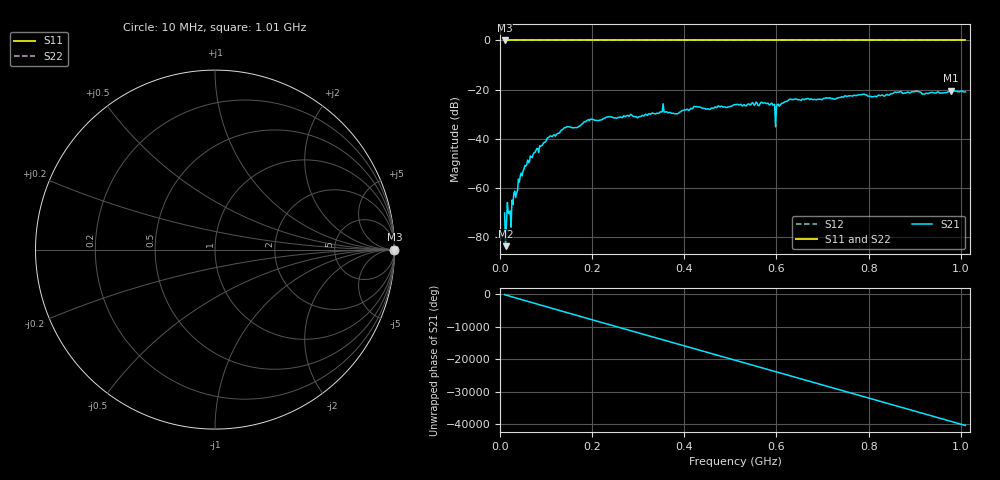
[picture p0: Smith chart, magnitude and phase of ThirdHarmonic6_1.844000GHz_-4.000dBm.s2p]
! 8/16/2025 10:18:59 PM
! C:\ANRITSUVNA\TEMP\TEMP.S2P
! CHANNEL.1
! TR.MEASUREMENT
! RAW.DATA
! RF.CORRECTION.OFF
! AVERAGING.OFF
! IF.BANDWIDTH: 5KHZ
! SWEEPTYPE:  FREQ.SWEEP(Linear)
! Reference Plane Port Info
! PORT:  PORT1  PORT2
! DISTANCE:  0  m  0  m
! TIME:  0  s  0  s
! PHASE.OFFSET:  0  deg.  0  deg.
! LOSS:  0  dB  0  dB
! REF.LOSS:  0  dB  0  dB
! REF.FREQ:  0  Hz  0  Hz
! Power Info
! POWER:  -20  dBm  -20  dBm
! EFF.POWER:  -20  dBm  -20  dBm
! SOURCE.ATTEN:  0  dB  0  dB
! TEST.ATTEN:  0  dB  0  dB
# GHZ S RI R 50.0
! FREQ.GHZ  S11RE  S11IM  S21RE  S21IM  S12RE  S12IM  S22RE  S22IM
!; PortSelection: Port_12
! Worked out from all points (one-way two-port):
!   501 points, 10 MHz to 1.01 GHz, reference 50 ohm
!   highest |S21| = -20.50 dB at 978 MHz (marker M1); lowest = -83.7 dB at 12 MHz (marker M2)
!   lowest |S11| = 0.0 dB at 10 MHz (marker M3)
!   |S11| at or under -10 dB: nowhere
!   |S22| runs from 0.0 to 0.0 dB; largest |S21 - S12| = 1.1
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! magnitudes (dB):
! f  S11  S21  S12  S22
! 10 MHz  0.0  -70.2  0.0  0.0
! 12 MHz  0.0  -83.7  0.0  0.0
! 24 MHz  0.0  -76.0  0.0  0.0
! 30 MHz  0.0  -62.3  0.0  0.0
! 50 MHz  0.0  -53.2  0.0  0.0
! 76 MHz  0.0  -45.6  0.0  0.0
! 106 MHz  0.0  -39.5  0.0  0.0
! 142 MHz  0.0  -35.5  0.0  0.0
! 178 MHz  0.0  -33.9  0.0  0.0
! 234 MHz  0.0  -31.2  0.0  0.0
! 344 MHz  0.0  -29.7  0.0  0.0
! 510 MHz  0.0  -26.1  0.0  0.0
! 572 MHz  0.0  -25.5  0.0  0.0
! 592 MHz  0.0  -26.3  0.0  0.0
! 594 MHz  0.0  -26.2  0.0  0.0
! 602 MHz  0.0  -26.1  0.0  0.0
! 604 MHz  0.0  -25.9  0.0  0.0
! 630 MHz  0.0  -24.0  0.0  0.0
! 678 MHz  0.0  -24.0  0.0  0.0
! 844 MHz  0.0  -22.3  0.0  0.0
! 978 MHz  0.0  -20.5  0.0  0.0
! 1.01 GHz  0.0  -20.9  0.0  0.0
